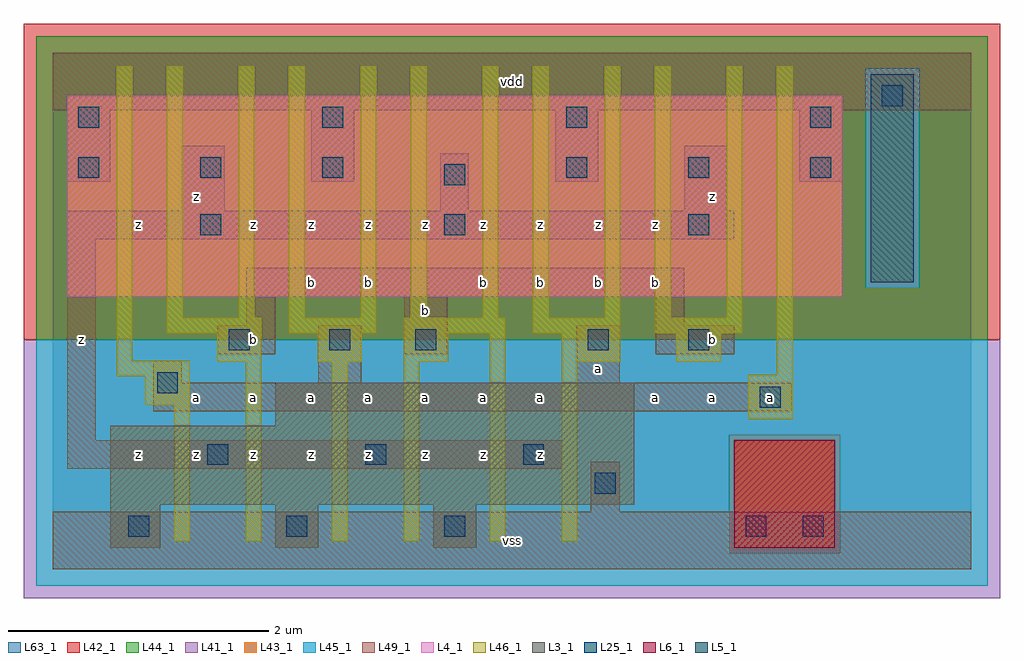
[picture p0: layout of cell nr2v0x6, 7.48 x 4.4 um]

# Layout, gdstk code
import gdstk
lib = gdstk.Library(unit=1e-6, precision=1e-09)
def R(c, l, rs):  # rectangles x0, y0, x1, y1
    for r in rs: c.add(gdstk.rectangle(r[:2], r[2:], *l))
def A(c, l, x, y, w, h, nx, ny, dx, dy):  # array of equal rectangles
    R(c, l, [(x+i*dx, y+j*dy, x+i*dx+w, y+j*dy+h) for i in range(nx) for j in range(ny)])
L3_1 = (3, 1)
L4_1 = (4, 1)
L5_1 = (5, 1)
L6_1 = (6, 1)
L25_1 = (25, 1)
L41_1 = (41, 1)
L42_1 = (42, 1)
L43_1 = (43, 1)
L44_1 = (44, 1)
L45_1 = (45, 1)
L46_1 = (46, 1)
L49_1 = (49, 1)
L63_1 = (63, 1)

nr2v0x6 = lib.new_cell('nr2v0x6')
R(nr2v0x6, L3_1, [(0.44,0.165,0.825,0.495), (1.705,0.165,2.035,0.495), (2.915,0.165,3.245,0.495), (0.44,0.495,4.455,1.1), (1.705,1.1,4.455,1.43)])
R(nr2v0x6, L4_1, [(0.11,2.09,6.05,3.63)])
R(nr2v0x6, L5_1, [(6.27,2.2,6.6,3.795)])
R(nr2v0x6, L6_1, [(5.225,0.165,5.995,0.99)])
A(nr2v0x6, L25_1, 0.58, 0.25, 0.16, 0.16, 3, 1, 1.21, 0)
A(nr2v0x6, L25_1, 1.185, 0.8, 0.16, 0.16, 3, 1, 1.21, 0)
A(nr2v0x6, L25_1, 1.13, 2.56, 0.16, 0.16, 3, 1, 1.87, 0)
A(nr2v0x6, L25_1, 0.195, 3, 0.16, 0.16, 3, 1, 0.935, 0)
A(nr2v0x6, L25_1, 3.935, 3, 0.16, 0.16, 3, 1, 0.935, 0)
A(nr2v0x6, L25_1, 0.195, 3.385, 0.16, 0.16, 4, 1, 1.87, 0)
R(nr2v0x6, L25_1, [(5.31,0.25,5.47,0.41), (5.75,0.25,5.91,0.41), (4.155,0.58,4.315,0.74), (5.42,1.24,5.58,1.4), (0.8,1.35,0.96,1.51), (1.35,1.68,1.51,1.84), (2.12,1.68,2.28,1.84), (2.78,1.68,2.94,1.84), (4.1,1.68,4.26,1.84), (4.87,1.68,5.03,1.84), (3,2.945,3.16,3.105), (6.355,3.55,6.515,3.71)])
R(nr2v0x6, L41_1, [(-0.22,-0.22,7.26,1.76)])
R(nr2v0x6, L42_1, [(-0.22,1.76,7.26,4.18)])
R(nr2v0x6, L43_1, [(0.44,0.165,0.825,0.495), (1.705,0.165,2.035,0.495), (2.915,0.165,3.245,0.495), (5.225,0.165,5.995,0.99), (0.44,0.495,4.455,1.1), (1.705,1.1,4.455,1.43), (0.11,2.09,6.05,3.63), (6.27,2.2,6.6,3.795)])
R(nr2v0x6, L44_1, [(5.185,0.125,6.035,1.03), (-0.125,1.76,7.165,2.16), (-0.125,2.16,6.23,3.835), (6.64,2.16,7.165,3.835), (-0.125,3.835,7.165,4.085)])
R(nr2v0x6, L45_1, [(-0.125,-0.125,7.165,0.125), (-0.125,0.125,5.185,1.03), (6.035,0.125,7.165,1.03), (-0.125,1.03,7.165,1.76), (6.23,2.16,6.64,3.835)])
R(nr2v0x6, L46_1, [(0.93,0.215,1.05,1.26), (1.48,0.215,1.6,1.59), (2.14,0.215,2.26,1.59), (2.69,0.215,2.81,1.59), (3.35,0.215,3.47,1.81), (3.9,0.215,4.02,1.59), (5.33,1.15,5.67,1.49), (0.71,1.26,1.05,1.48), (0.49,1.48,1.05,1.6), (5.55,1.49,5.67,3.855), (1.26,1.59,1.6,1.81), (2.03,1.59,2.37,1.81), (2.69,1.59,3.03,1.81), (3.9,1.59,4.35,1.81), (4.78,1.59,5.12,1.81), (0.49,1.6,0.61,3.855), (0.875,1.81,1.6,1.93), (1.81,1.81,2.48,1.93), (2.69,1.81,3.47,1.93), (3.68,1.81,4.35,1.93), (4.615,1.81,5.285,1.93), (0.875,1.93,0.995,3.855), (1.425,1.93,1.545,3.855), (1.81,1.93,1.93,3.855), (2.36,1.93,2.48,3.855), (2.745,1.93,2.865,3.855), (3.295,1.93,3.415,3.855), (3.68,1.93,3.8,3.855), (4.23,1.93,4.35,3.855), (4.615,1.93,4.735,3.855), (5.165,1.93,5.285,3.855)])
A(nr2v0x6, L49_1, 0.11, 2.97, 0.33, 0.55, 4, 1, 1.87, 0)
R(nr2v0x6, L49_1, [(0,0,7.04,0.44), (4.125,0.44,4.345,0.825), (0.11,0.77,3.905,0.99), (0.11,0.99,0.33,2.53), (0.77,1.21,5.665,1.43), (0.77,1.43,0.99,1.595), (2.035,1.43,2.365,1.87), (4.015,1.43,4.345,1.87), (1.265,1.65,1.705,1.87), (2.695,1.65,3.025,2.09), (4.62,1.65,5.225,1.87), (1.485,1.87,1.705,2.09), (4.62,1.87,4.84,2.09), (1.485,2.09,4.84,2.31), (0.11,2.53,5.225,2.75), (0.99,2.75,1.32,3.245), (2.97,2.75,3.19,3.19), (4.84,2.75,5.17,3.245), (0,3.52,7.04,3.96)])
R(nr2v0x6, L63_1, [(0,0,7.04,3.96)])
nr2v0x6.add(gdstk.Label('z', (0.66,0.88), layer=49, texttype=1))
nr2v0x6.add(gdstk.Label('z', (1.1,0.88), layer=49, texttype=1))
nr2v0x6.add(gdstk.Label('a', (1.1,1.32), layer=49, texttype=1))
nr2v0x6.add(gdstk.Label('z', (0.22,1.76), layer=49, texttype=1))
nr2v0x6.add(gdstk.Label('z', (1.1,2.86), layer=49, texttype=1))
nr2v0x6.add(gdstk.Label('z', (0.66,2.64), layer=49, texttype=1))
nr2v0x6.add(gdstk.Label('z', (1.54,0.88), layer=49, texttype=1))
nr2v0x6.add(gdstk.Label('z', (1.98,0.88), layer=49, texttype=1))
nr2v0x6.add(gdstk.Label('z', (2.42,0.88), layer=49, texttype=1))
nr2v0x6.add(gdstk.Label('a', (1.54,1.32), layer=49, texttype=1))
nr2v0x6.add(gdstk.Label('a', (1.98,1.32), layer=49, texttype=1))
nr2v0x6.add(gdstk.Label('a', (2.42,1.32), layer=49, texttype=1))
nr2v0x6.add(gdstk.Label('b', (1.54,1.76), layer=49, texttype=1))
nr2v0x6.add(gdstk.Label('b', (1.98,2.2), layer=49, texttype=1))
nr2v0x6.add(gdstk.Label('b', (2.42,2.2), layer=49, texttype=1))
nr2v0x6.add(gdstk.Label('z', (1.54,2.64), layer=49, texttype=1))
nr2v0x6.add(gdstk.Label('z', (1.98,2.64), layer=49, texttype=1))
nr2v0x6.add(gdstk.Label('z', (2.42,2.64), layer=49, texttype=1))
nr2v0x6.add(gdstk.Label('vss', (3.52,0.22), layer=49, texttype=1))
nr2v0x6.add(gdstk.Label('z', (3.3,0.88), layer=49, texttype=1))
nr2v0x6.add(gdstk.Label('z', (3.74,0.88), layer=49, texttype=1))
nr2v0x6.add(gdstk.Label('z', (2.86,0.88), layer=49, texttype=1))
nr2v0x6.add(gdstk.Label('a', (2.86,1.32), layer=49, texttype=1))
nr2v0x6.add(gdstk.Label('a', (3.3,1.32), layer=49, texttype=1))
nr2v0x6.add(gdstk.Label('a', (3.74,1.32), layer=49, texttype=1))
nr2v0x6.add(gdstk.Label('b', (2.86,1.98), layer=49, texttype=1))
nr2v0x6.add(gdstk.Label('b', (3.3,2.2), layer=49, texttype=1))
nr2v0x6.add(gdstk.Label('b', (3.74,2.2), layer=49, texttype=1))
nr2v0x6.add(gdstk.Label('z', (2.86,2.64), layer=49, texttype=1))
nr2v0x6.add(gdstk.Label('z', (3.3,2.64), layer=49, texttype=1))
nr2v0x6.add(gdstk.Label('z', (3.74,2.64), layer=49, texttype=1))
nr2v0x6.add(gdstk.Label('vdd', (3.52,3.74), layer=49, texttype=1))
nr2v0x6.add(gdstk.Label('a', (5.5,1.32), layer=49, texttype=1))
nr2v0x6.add(gdstk.Label('a', (4.62,1.32), layer=49, texttype=1))
nr2v0x6.add(gdstk.Label('a', (5.06,1.32), layer=49, texttype=1))
nr2v0x6.add(gdstk.Label('b', (5.06,1.76), layer=49, texttype=1))
nr2v0x6.add(gdstk.Label('a', (4.18,1.54), layer=49, texttype=1))
nr2v0x6.add(gdstk.Label('b', (4.18,2.2), layer=49, texttype=1))
nr2v0x6.add(gdstk.Label('b', (4.62,2.2), layer=49, texttype=1))
nr2v0x6.add(gdstk.Label('z', (4.18,2.64), layer=49, texttype=1))
nr2v0x6.add(gdstk.Label('z', (5.06,2.86), layer=49, texttype=1))
nr2v0x6.add(gdstk.Label('z', (4.62,2.64), layer=49, texttype=1))

lib.write_gds('nr2v0x6.gds')
